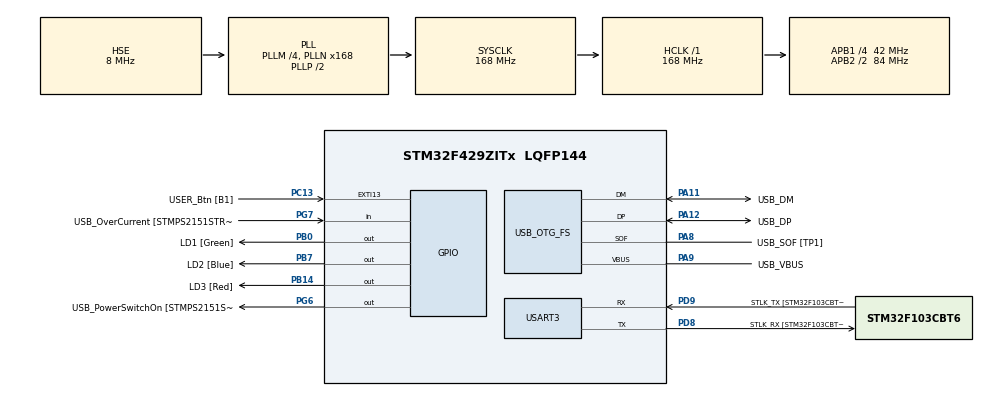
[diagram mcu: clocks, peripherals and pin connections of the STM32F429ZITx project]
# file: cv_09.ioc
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Mcu.Family=STM32F4
Mcu.Name=STM32F429ZITx
Mcu.Package=LQFP144
NVIC.OTG_FS_IRQn=true\:0\:0\:false\:false\:true\:true\:true
NVIC.PriorityGroup=NVIC_PRIORITYGROUP_4
PA1.GPIO_Label=RMII_REF_CLK [LAN8742A-CZ-TR_REFCLK0]
PA1.Signal=ETH_REF_CLK
PA10.GPIO_Label=USB_ID
PA10.Signal=USB_OTG_FS_ID
PA11.GPIO_Label=USB_DM
PA11.Mode=Device_Only
PA11.Signal=USB_OTG_FS_DM
PA12.GPIO_Label=USB_DP
PA12.Mode=Device_Only
PA12.Signal=USB_OTG_FS_DP
PA13.GPIO_Label=TMS
PA13.Mode=Serial_Wire
PA13.Signal=SYS_JTMS-SWDIO
PA14.GPIO_Label=TCK
PA14.Mode=Serial_Wire
PA14.Signal=SYS_JTCK-SWCLK
PA2.GPIO_Label=RMII_MDIO [LAN8742A-CZ-TR_MDIO]
PA2.Signal=ETH_MDIO
PA7.GPIO_Label=RMII_CRS_DV [LAN8742A-CZ-TR_CRS_DV]
PA7.Signal=ETH_CRS_DV
PA8.GPIO_Label=USB_SOF [TP1]
PA8.Mode=Activate_SOF_FS
PA8.Signal=USB_OTG_FS_SOF
PA9.GPIO_Label=USB_VBUS
PA9.Mode=Activate_VBUS
PA9.Signal=USB_OTG_FS_VBUS
PB0.GPIO_Label=LD1 [Green]
PB0.Signal=GPIO_Output
PB13.GPIO_Label=RMII_TXD1 [LAN8742A-CZ-TR_TXD1]
PB13.Signal=ETH_TXD1
PB14.GPIO_Label=LD3 [Red]
PB14.Signal=GPIO_Output
PB7.GPIO_Label=LD2 [Blue]
PB7.Signal=GPIO_Output
PC1.GPIO_Label=RMII_MDC [LAN8742A-CZ-TR_MDC]
PC1.Signal=ETH_MDC
PC13.GPIO_Label=USER_Btn [B1]
PC13.Signal=GPXTI13
PC14/OSC32_IN.Mode=LSE-External-Oscillator
PC14/OSC32_IN.Signal=RCC_OSC32_IN
PC15/OSC32_OUT.Mode=LSE-External-Oscillator
PC15/OSC32_OUT.Signal=RCC_OSC32_OUT
PC4.GPIO_Label=RMII_RXD0 [LAN8742A-CZ-TR_RXD0]
PC4.Signal=ETH_RXD0
PC5.GPIO_Label=RMII_RXD1 [LAN8742A-CZ-TR_RXD1]
PC5.Signal=ETH_RXD1
PD8.GPIO_Label=STLK_RX [STM32F103CBT6_PA3]
PD8.Mode=Asynchronous
PD8.Signal=USART3_TX
PD9.GPIO_Label=STLK_TX [STM32F103CBT6_PA2]
PD9.Mode=Asynchronous
PD9.Signal=USART3_RX
PG11.GPIO_Label=RMII_TX_EN [LAN8742A-CZ-TR_TXEN]
PG11.Signal=ETH_TX_EN
PG13.GPIO_Label=RMII_TXD0 [LAN8742A-CZ-TR_TXD0]
PG13.Signal=ETH_TXD0
PG6.GPIO_Label=USB_PowerSwitchOn [STMPS2151STR_EN]
PG6.Signal=GPIO_Output
PG7.GPIO_Label=USB_OverCurrent [STMPS2151STR_FAULT]
PG7.Signal=GPIO_Input
PH0/OSC_IN.GPIO_Label=MCO [STM32F103CBT6_PA8]
PH0/OSC_IN.Mode=HSE-External-Clock-Source
PH0/OSC_IN.Signal=RCC_OSC_IN
PH1/OSC_OUT.Mode=HSE-External-Clock-Source
PH1/OSC_OUT.Signal=RCC_OSC_OUT
ProjectManager.HeapSize=0x200
ProjectManager.StackSize=0x400
ProjectManager.TargetToolchain=STM32CubeIDE
RCC.48MHZClocksFreq_Value=48000000
RCC.AHBFreq_Value=168000000
RCC.APB1CLKDivider=RCC_HCLK_DIV4
RCC.APB1Freq_Value=42000000
RCC.APB1TimFreq_Value=84000000
RCC.APB2CLKDivider=RCC_HCLK_DIV2
RCC.APB2Freq_Value=84000000
RCC.APB2TimCLKDivider=2
RCC.APB2TimFreq_Value=168000000
RCC.CortexFreq_Value=168000000
RCC.HCLKFreq_Value=168000000
RCC.HSE_VALUE=8000000
RCC.HSI_VALUE=16000000
RCC.PLLM=4
RCC.PLLMUL=RCC_PLL_MUL9
RCC.PLLN=168
RCC.PLLQ=7
RCC.PRESCALERUSB=RCC_USBCLKSOURCE_PLL_DIV1_5
RCC.SYSCLKFreq_VALUE=168000000
RCC.SYSCLKSource=RCC_SYSCLKSOURCE_PLLCLK
RCC.SYSCLKSourceVirtual=RCC_SYSCLKSOURCE_PLLCLK
RCC.USBFreq_Value=48000000
RCC.VCOOutputFreq_Value=336000000
USART3.VirtualMode=VM_ASYNC
USB_DEVICE.CLASS_NAME_FS=HID
USB_DEVICE.VirtualMode-HID_FS=Hid
USB_DEVICE.VirtualModeFS=Hid_FS
USB_OTG_FS.VirtualMode=Device_Only
VP_USB_DEVICE_VS_USB_DEVICE_HID_FS.Mode=HID_FS
board=NUCLEO-F429ZI

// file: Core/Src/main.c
/* USER CODE BEGIN Header */
/**
  ******************************************************************************
  * @file           : main.c
  * @brief          : Main program body
  ******************************************************************************
  * @attention
  *
  * <h2><center>&copy; Copyright (c) 2020 STMicroelectronics.
  * All rights reserved.</center></h2>
  *
  * This software component is licensed by ST under BSD 3-Clause license,
  * the "License"; You may not use this file except in compliance with the
  * License. You may obtain a copy of the License at:
  *                        opensource.org/licenses/BSD-3-Clause
  *
  ******************************************************************************
  */
/* USER CODE END Header */
#include "main.h"
#include "usb_device.h"

/* USER CODE BEGIN Includes */

#include "usbd_hid.h"
#include <math.h>

/* USER CODE END Includes */

/* USER CODE BEGIN PD */

#define NONE_BTN 0x00
#define LEFT_BTN 0x01

#define MIN_ANG_STEP 	0.126
#define FIN				50

/* USER CODE END PD */

UART_HandleTypeDef huart3;

/* USER CODE BEGIN PV */

extern USBD_HandleTypeDef hUsbDeviceFS;

/* USER CODE END PV */

void SystemClock_Config(void);
static void MX_GPIO_Init(void);
static void MX_USART3_UART_Init(void);
/* USER CODE BEGIN PFP */

void step(int8_t x, int8_t y, uint8_t btn);
void circle(uint8_t radius, float start_ang, float end_ang);
void line_x(int8_t len_x);
void line_y(int8_t len_y);
void pos_cursor(int8_t step_x, int8_t step_y);

/* USER CODE END PFP */

/* USER CODE BEGIN 0 */

void step(int8_t x, int8_t y, uint8_t btn)
{
	uint8_t buff[4];
	buff[0] = btn; 				// Press left button
	buff[1] = (int8_t)(x); 			// Shift X + x
	buff[2] = (int8_t)(y); 			// Shift Y + y
	buff[3] = 0; 					// Without scroll
	USBD_HID_SendReport(&hUsbDeviceFS, buff, sizeof(buff));	// Send data in buffer
	HAL_Delay(USBD_HID_GetPollingInterval(&hUsbDeviceFS));	// Waiting
}

void circle(uint8_t radius, float start_ang, float end_ang)
{
	float 	x = 0;
	float 	y = 0;
	float  sx = radius;
	float  sy = 0;
	float  act_ang;
	int8_t diff_x, diff_y;
	uint8_t i;

	for (i = 0; i < FIN; i++)
	{
		act_ang = i*MIN_ANG_STEP;

		x = radius * cos(act_ang);		// Polar to cartesian
		y = radius * sin(act_ang);

		diff_x = x - sx;						// Difference
		diff_y = y - sy;

		if ((act_ang > start_ang) && (act_ang < end_ang))
			step(diff_x, diff_y, LEFT_BTN);			// Step the cursor
		else
			step(diff_x, diff_y, NONE_BTN);			// Step the cursor

		sx = x;
		sy = y;
	}
}

void line_x(int8_t len_x)
{
	step(0, len_x, LEFT_BTN);
}

void line_y(int8_t len_y)
{
	step(0, len_y, LEFT_BTN);
}

void pos_cursor(int8_t step_x, int8_t step_y)
{
	step(step_x, step_y, NONE_BTN);
}

/* USER CODE END 0 */

int main(void)
{

  /* MCU Configuration--------------------------------------------------------*/

  /* Reset of all peripherals, Initializes the Flash interface and the Systick. */
  HAL_Init();

  /* Configure the system clock */
  SystemClock_Config();

  /* Initialize all configured peripherals */
  MX_GPIO_Init();
  MX_USART3_UART_Init();
  MX_USB_DEVICE_Init();

  /* Infinite loop */
  /* USER CODE BEGIN WHILE */
  while (1)
  {

	  do { HAL_Delay(40); } while (!HAL_GPIO_ReadPin(USER_Btn_GPIO_Port, USER_Btn_Pin)); 	// Wait for press

	  circle(20, 0, 6.3);
	  pos_cursor(5, 5);
	  circle(2, 0, 6.3);
	  pos_cursor(0,3);
	  circle(2, 0, 6.3);
	  pos_cursor(-3,-7);
	  line_y(6);
	  pos_cursor(0,3);
	  circle(15, 1, 2.5);

    /* USER CODE END WHILE */

  }
}

void SystemClock_Config(void)
{
  RCC_OscInitTypeDef RCC_OscInitStruct = {0};
  RCC_ClkInitTypeDef RCC_ClkInitStruct = {0};

  /** Configure the main internal regulator output voltage
  */
  __HAL_RCC_PWR_CLK_ENABLE();
  __HAL_PWR_VOLTAGESCALING_CONFIG(PWR_REGULATOR_VOLTAGE_SCALE1);
  /** Initializes the RCC Oscillators according to the specified parameters
  * in the RCC_OscInitTypeDef structure.
  */
  RCC_OscInitStruct.OscillatorType = RCC_OSCILLATORTYPE_HSE;
  RCC_OscInitStruct.HSEState = RCC_HSE_BYPASS;
  RCC_OscInitStruct.PLL.PLLState = RCC_PLL_ON;
  RCC_OscInitStruct.PLL.PLLSource = RCC_PLLSOURCE_HSE;
  RCC_OscInitStruct.PLL.PLLM = 4;
  RCC_OscInitStruct.PLL.PLLN = 168;
  RCC_OscInitStruct.PLL.PLLP = RCC_PLLP_DIV2;
  RCC_OscInitStruct.PLL.PLLQ = 7;
  if (HAL_RCC_OscConfig(&RCC_OscInitStruct) != HAL_OK)
  {
    Error_Handler();
  }
  /** Initializes the CPU, AHB and APB buses clocks
  */
  RCC_ClkInitStruct.ClockType = RCC_CLOCKTYPE_HCLK|RCC_CLOCKTYPE_SYSCLK
                              |RCC_CLOCKTYPE_PCLK1|RCC_CLOCKTYPE_PCLK2;
  RCC_ClkInitStruct.SYSCLKSource = RCC_SYSCLKSOURCE_PLLCLK;
  RCC_ClkInitStruct.AHBCLKDivider = RCC_SYSCLK_DIV1;
  RCC_ClkInitStruct.APB1CLKDivider = RCC_HCLK_DIV4;
  RCC_ClkInitStruct.APB2CLKDivider = RCC_HCLK_DIV2;

  if (HAL_RCC_ClockConfig(&RCC_ClkInitStruct, FLASH_LATENCY_5) != HAL_OK)
  {
    Error_Handler();
  }
}

static void MX_USART3_UART_Init(void)
{

  huart3.Instance = USART3;
  huart3.Init.BaudRate = 115200;
  huart3.Init.WordLength = UART_WORDLENGTH_8B;
  huart3.Init.StopBits = UART_STOPBITS_1;
  huart3.Init.Parity = UART_PARITY_NONE;
  huart3.Init.Mode = UART_MODE_TX_RX;
  huart3.Init.HwFlowCtl = UART_HWCONTROL_NONE;
  huart3.Init.OverSampling = UART_OVERSAMPLING_16;
  if (HAL_UART_Init(&huart3) != HAL_OK)
  {
    Error_Handler();
  }

}

static void MX_GPIO_Init(void)
{
  GPIO_InitTypeDef GPIO_InitStruct = {0};

  /* GPIO Ports Clock Enable */
  __HAL_RCC_GPIOC_CLK_ENABLE();
  __HAL_RCC_GPIOH_CLK_ENABLE();
  __HAL_RCC_GPIOA_CLK_ENABLE();
  __HAL_RCC_GPIOB_CLK_ENABLE();
  __HAL_RCC_GPIOD_CLK_ENABLE();
  __HAL_RCC_GPIOG_CLK_ENABLE();

  /*Configure GPIO pin Output Level */
  HAL_GPIO_WritePin(GPIOB, LD1_Pin|LD3_Pin|LD2_Pin, GPIO_PIN_RESET);

  /*Configure GPIO pin Output Level */
  HAL_GPIO_WritePin(USB_PowerSwitchOn_GPIO_Port, USB_PowerSwitchOn_Pin, GPIO_PIN_RESET);

  /*Configure GPIO pin : USER_Btn_Pin */
  GPIO_InitStruct.Pin = USER_Btn_Pin;
  GPIO_InitStruct.Mode = GPIO_MODE_IT_RISING;
  GPIO_InitStruct.Pull = GPIO_NOPULL;
  HAL_GPIO_Init(USER_Btn_GPIO_Port, &GPIO_InitStruct);

  /*Configure GPIO pins : RMII_MDC_Pin RMII_RXD0_Pin RMII_RXD1_Pin */
  GPIO_InitStruct.Pin = RMII_MDC_Pin|RMII_RXD0_Pin|RMII_RXD1_Pin;
  GPIO_InitStruct.Mode = GPIO_MODE_AF_PP;
  GPIO_InitStruct.Pull = GPIO_NOPULL;
  GPIO_InitStruct.Speed = GPIO_SPEED_FREQ_VERY_HIGH;
  GPIO_InitStruct.Alternate = GPIO_AF11_ETH;
  HAL_GPIO_Init(GPIOC, &GPIO_InitStruct);

  /*Configure GPIO pins : RMII_REF_CLK_Pin RMII_MDIO_Pin RMII_CRS_DV_Pin */
  GPIO_InitStruct.Pin = RMII_REF_CLK_Pin|RMII_MDIO_Pin|RMII_CRS_DV_Pin;
  GPIO_InitStruct.Mode = GPIO_MODE_AF_PP;
  GPIO_InitStruct.Pull = GPIO_NOPULL;
  GPIO_InitStruct.Speed = GPIO_SPEED_FREQ_VERY_HIGH;
  GPIO_InitStruct.Alternate = GPIO_AF11_ETH;
  HAL_GPIO_Init(GPIOA, &GPIO_InitStruct);

  /*Configure GPIO pins : LD1_Pin LD3_Pin LD2_Pin */
  GPIO_InitStruct.Pin = LD1_Pin|LD3_Pin|LD2_Pin;
  GPIO_InitStruct.Mode = GPIO_MODE_OUTPUT_PP;
  GPIO_InitStruct.Pull = GPIO_NOPULL;
  GPIO_InitStruct.Speed = GPIO_SPEED_FREQ_LOW;
  HAL_GPIO_Init(GPIOB, &GPIO_InitStruct);

  /*Configure GPIO pin : RMII_TXD1_Pin */
  GPIO_InitStruct.Pin = RMII_TXD1_Pin;
  GPIO_InitStruct.Mode = GPIO_MODE_AF_PP;
  GPIO_InitStruct.Pull = GPIO_NOPULL;
  GPIO_InitStruct.Speed = GPIO_SPEED_FREQ_VERY_HIGH;
  GPIO_InitStruct.Alternate = GPIO_AF11_ETH;
  HAL_GPIO_Init(RMII_TXD1_GPIO_Port, &GPIO_InitStruct);

  /*Configure GPIO pin : USB_PowerSwitchOn_Pin */
  GPIO_InitStruct.Pin = USB_PowerSwitchOn_Pin;
  GPIO_InitStruct.Mode = GPIO_MODE_OUTPUT_PP;
  GPIO_InitStruct.Pull = GPIO_NOPULL;
  GPIO_InitStruct.Speed = GPIO_SPEED_FREQ_LOW;
  HAL_GPIO_Init(USB_PowerSwitchOn_GPIO_Port, &GPIO_InitStruct);

  /*Configure GPIO pin : USB_OverCurrent_Pin */
  GPIO_InitStruct.Pin = USB_OverCurrent_Pin;
  GPIO_InitStruct.Mode = GPIO_MODE_INPUT;
  GPIO_InitStruct.Pull = GPIO_NOPULL;
  HAL_GPIO_Init(USB_OverCurrent_GPIO_Port, &GPIO_InitStruct);

  /*Configure GPIO pins : RMII_TX_EN_Pin RMII_TXD0_Pin */
  GPIO_InitStruct.Pin = RMII_TX_EN_Pin|RMII_TXD0_Pin;
  GPIO_InitStruct.Mode = GPIO_MODE_AF_PP;
  GPIO_InitStruct.Pull = GPIO_NOPULL;
  GPIO_InitStruct.Speed = GPIO_SPEED_FREQ_VERY_HIGH;
  GPIO_InitStruct.Alternate = GPIO_AF11_ETH;
  HAL_GPIO_Init(GPIOG, &GPIO_InitStruct);

}

void Error_Handler(void)
{
}

/************************ (C) COPYRIGHT STMicroelectronics *****END OF FILE****/
